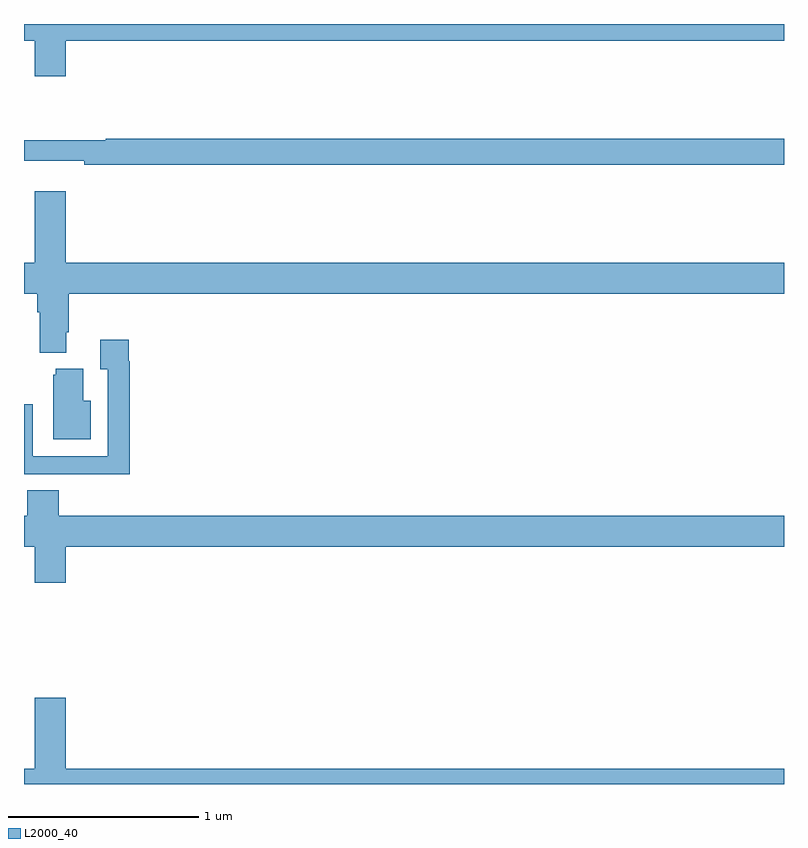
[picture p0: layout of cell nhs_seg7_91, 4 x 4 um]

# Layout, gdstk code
import gdstk
lib = gdstk.Library(unit=1e-6, precision=1e-09)
def P(c, l, *ps):  # polygons
    for p in ps: c.add(gdstk.Polygon(p, *l))
L2000_40 = (2000, 40)

nhs_seg7_91 = lib.new_cell('nhs_seg7_91')
P(nhs_seg7_91, L2000_40, [(117.22,1037.912),(121,1037.912),(121,1038),(117,1038),(117,1037.912),(117.056,1037.912),(117.056,1037.724),(117.22,1037.724)],
  [(121,1037.396),(117.431,1037.396),(117.431,1037.389),(117,1037.389),(117,1037.279),(117.316,1037.279),(117.316,1037.26),(121,1037.26)],
  [(117.223,1036.378),(117.236,1036.378),(117.236,1036.58),(121,1036.58),(121,1036.744),(117.22,1036.744),(117.22,1037.119),(117.056,1037.119),(117.056,1036.744),(117,1036.744),(117,1036.58),(117.071,1036.58),(117.071,1036.484),(117.083,1036.484),(117.083,1036.271),(117.223,1036.271)],
  [(117.557,1036.226),(117.55,1036.226),(117.55,1036.339),(117.401,1036.339),(117.401,1036.183),(117.441,1036.183),(117.441,1035.726),(117.045,1035.726),(117.045,1036),(117,1036),(117,1035.63),(117.265,1035.63),(117.265,1035.629),(117.557,1035.629)],
  [(117.352,1036.018),(117.313,1036.018),(117.313,1036.186),(117.167,1036.186),(117.167,1036.155),(117.155,1036.155),(117.155,1035.815),(117.352,1035.815)],
  [(117.22,1035.248),(121,1035.248),(121,1035.412),(117.182,1035.412),(117.182,1035.545),(117.017,1035.545),(117.017,1035.412),(117,1035.412),(117,1035.248),(117.056,1035.248),(117.056,1035.06),(117.22,1035.06)],
  [(121,1034.08),(117.22,1034.08),(117.22,1034.455),(117.056,1034.455),(117.056,1034.08),(117,1034.08),(117,1034),(121,1034)])

lib.write_gds('nhs_seg7_91.gds')
